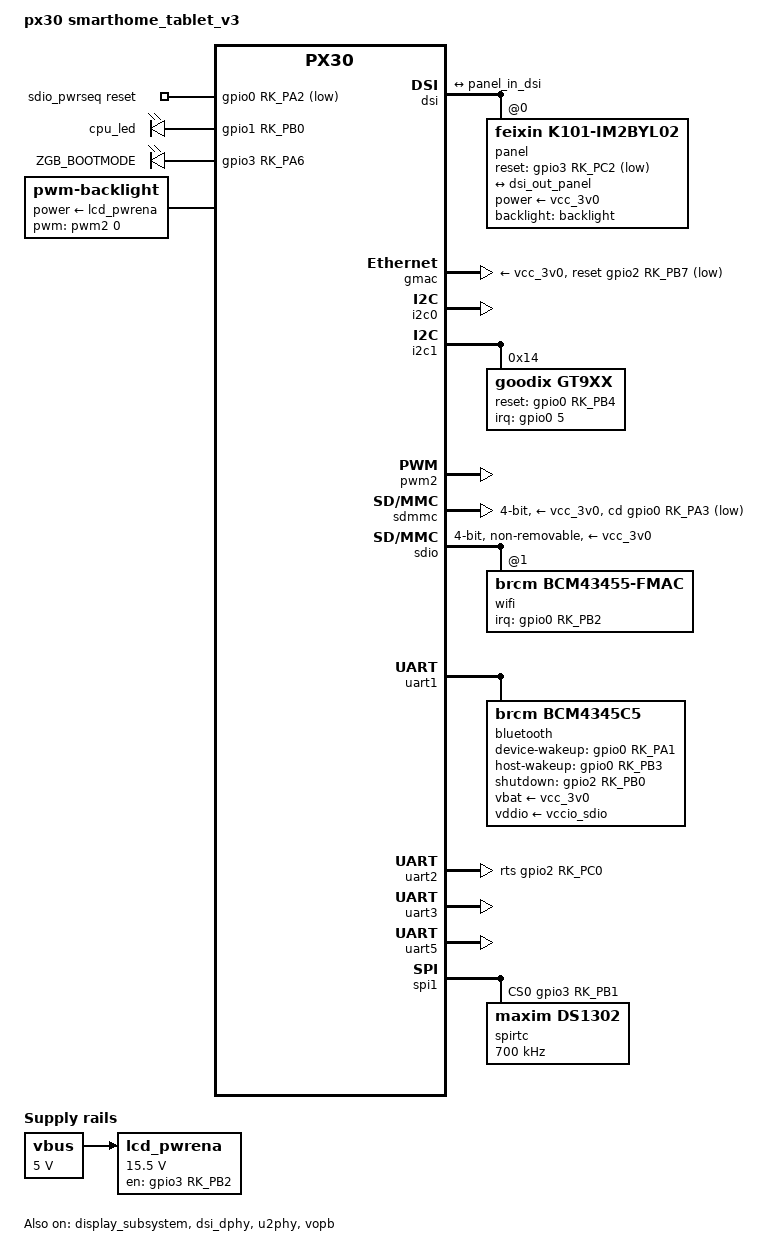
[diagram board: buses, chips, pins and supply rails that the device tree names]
/*
 * Copyright (c) 2024 InMys
 */
 
/*
 SH_PX30_BASE_V3.pdf + SOM_PX30_V1.pdf
*/

/dts-v1/;
#include <dt-bindings/gpio/gpio.h>
#include <dt-bindings/pinctrl/rockchip.h>
#include <dt-bindings/input/input.h>
#include "px30-inmys-som-hh.dtsi"

/ {
	model = "px30 smarthome_tablet_v3";
	compatible = "inmys,px30-sh-tablet-v3", "rockchip,px30";

	chosen {
		stdout-path = "serial3:115200n8";
	};
	aliases {
		ethernet0 = &gmac;
		rtc0 = &spirtc;
		rtc1 = &rk817;

		mmc0 = &sdmmc; // sdcard
		mmc1 = &sdio;  // wifi
		mmc2 = &emmc;
	};

	/* SH_PX30_TABLET pwr */
	vbus: vbusv {
		compatible = "regulator-fixed";
		regulator-name = "vbus";
		regulator-always-on;
		regulator-boot-on;
		regulator-min-microvolt = <5000000>;
		regulator-max-microvolt = <5000000>;
	};

	sdio_pwrseq: sdio-pwrseq {
		compatible = "mmc-pwrseq-simple";
		clocks = <&rk817 1>;
		clock-names = "ext_clock";
		pinctrl-names = "default";
		pinctrl-0 = <&wifi_enable_h>;

		/*
		 * On the module itself this is one of these (depending
		 * on the actual card populated):
		 * - SDIO_RESET_L_WL_REG_ON
		 * - PDN (power down when low)
		 */
		reset-gpios = <&gpio0 RK_PA2 GPIO_ACTIVE_LOW>;
		post-power-on-delay-ms = <10>;
	};

	leds{
		compatible = "gpio-leds";
		pinctrl-names = "default";
		pinctrl-0 = <&led_gpio &zgb_reset_pin>;
		cpu_led {
			label = "cpu_led";
			gpios = <&gpio1 RK_PB0 GPIO_ACTIVE_HIGH>;
			linux,default-trigger = "heartbeat";
		};

		ZGB_BOOTMODE { // CPU_BOOTMODE in sch
			gpios = <&gpio3 RK_PA6 GPIO_ACTIVE_HIGH>;
			default-state = "on";
		};
#if 0
		/* disabled, confict with openocd(use gpio) */
		ZGB_RESET {
			gpios = <&gpio3 RK_PD3 GPIO_ACTIVE_LOW>;
			default-state = "off";
		};
#endif
	};
};

&display_subsystem {
	status = "okay";
};

/{
	lcd_pwrena: lcd_pwrena {
		compatible = "regulator-fixed";
		regulator-name = "lcd_pwrena";
		regulator-min-microvolt = <15500000>;
		regulator-max-microvolt = <15500000>;
		vin-supply = <&vbus>;
		gpio = <&gpio3 RK_PB2 GPIO_ACTIVE_HIGH>;
		enable-active-high;
	};
		
	backlight: backlight {
		compatible = "pwm-backlight";
		pwms = <&pwm2 0 25000 0>;
		//default-brightness-level = <100>;
		power-supply = <&lcd_pwrena>;
	};
};

&dsi {
	status = "okay";
	panel@0 {
		//compatible = "bananapi,lhr050h41";
		compatible = "feixin,k101-im2byl02";

		// Dot pitch: 117.75*117.75 (800x1280)
		width-mm = <151>;
		height-mm = <94>;
		rotation = <90>;

		reg = <0>;
		power-supply = <&vcc_3v0>;
		reset-gpios = <&gpio3 RK_PC2 GPIO_ACTIVE_LOW>;
		backlight = <&backlight>;
		status = "okay";
		ports {
			#address-cells = <1>;
			#size-cells = <0>;
			port@0 {
				reg = <0>;
				panel_in_dsi: endpoint {
					remote-endpoint = <&dsi_out_panel>;
				};
			};
		};
	};
	ports {
		#address-cells = <1>;
		#size-cells = <0>;
		port@1 {
			reg = <1>;
			dsi_out_panel: endpoint {
				remote-endpoint = <&panel_in_dsi>;
			};
		};
	};
	
};

&dsi_dphy {
	status = "okay";
};


&gmac {
	status = "okay";
	
	phy-supply = <&vcc_3v0>;
	clock_in_out = "output";
	snps,reset-gpio = <&gpio2 RK_PB7 GPIO_ACTIVE_LOW>;
	snps,reset-active-low;
	snps,reset-delays-us = <0 50000 50000>;
	status = "okay";

	tx_delay = <0x30>;
	rx_delay = <0x10>;
#if 0
	phy-handle = <&yt8512>;
	yt8512: ethernet-phy@0{
		reg = <0>;
		reset-assert-us = <50000>;
		reset-deassert-us = <50000>;
		reset-gpios = <&gpio2 RK_PB7 GPIO_ACTIVE_LOW>;
		compatible = "ethernet-phy-ieee802.3-c22";
	};
#endif
};

&i2c0 {
	status = "okay";
};

&i2c1 {
	status = "okay";
	gt9xx@14 {
		compatible = "goodix,gt9xx";
		reg = <0x14>;
		status = "okay";
		interrupt-parent = <&gpio0>;
		interrupts = <5 0x2800>;
		reset-gpios = <&gpio0 RK_PB4 0x0>;
		irq-gpios = <&gpio0 5 0x2800>;
		irq-flags = <2>;
		touchscreen-max-id = <11>;
		touchscreen-size-x = <800>;
		touchscreen-size-y = <1280>;
		touchscreen-max-w = <512>;
		touchscreen-max-p = <512>;
		
		goodix,slide-wakeup = <0>;
		goodix,type-a-report = <0>;
		goodix,driver-send-cfg = <0>;
		goodix,resume-in-workqueue = <0>;
		goodix,int-sync = <1>;
		goodix,swap-x2y = <0>;
		goodix,esd-protect = <1>;
		goodix,auto-update-cfg = <0>;
		goodix,power-off-sleep = <0>;
		goodix,pen-suppress-finger = <0>;
		goodix,cfg-group0 = [
			53 D0 02 00 05 05 F5 D5 21 48 2D 0F 5A 41 0E 05 00 00 32 32 20 00 05 14 14 1A 14 8B 2B 00
		];
	};
};

&pwm2 {
	status = "okay";
};


/* sdcard */
&sdmmc {
	bus-width = <4>;
	cap-mmc-highspeed;
	cap-sd-highspeed;
	supports-sd;
	card-detect-delay = <800>;
	ignore-pm-notify;
	cd-gpios = <&gpio0 RK_PA3 GPIO_ACTIVE_LOW>;
	sd-uhs-sdr12;
	sd-uhs-sdr25;
	sd-uhs-sdr50;
	sd-uhs-sdr104;
	vmmc-supply = <&vcc_3v0>;
	vqmmc-supply = <&vcc_3v0>;
	status = "okay";
};

/* wifi */
&sdio {
	#address-cells = <1>;
	#size-cells = <0>;
	bus-width = <4>;
	disable-wp;
	cap-sd-highspeed;
	cap-sdio-irq;
	keep-power-in-suspend;
	mmc-pwrseq = <&sdio_pwrseq>;
	non-removable;
	//pinctrl-names = "default";
	//pinctrl-0 = <&sdio_bus4 &sdio_cmd &sdio_clk>;
	sd-uhs-sdr104;
	vmmc-supply = <&vcc_3v0>;
	vqmmc-supply = <&vccio_sdio>;
	status = "okay";
	wifi@1 {
		compatible = "brcm,bcm43455-fmac";
		reg = <1>;
		interrupt-parent = <&gpio0>;
		interrupts = <RK_PB2 IRQ_TYPE_LEVEL_HIGH>;
		interrupt-names = "host-wake";
		//pinctrl-names = "default";
		//pinctrl-0 = <&wifi_host_wake_h>;
	};
};


#if 0
// conflict with wifi/bluetooth wakeup
&uart0 {
	pinctrl-names = "default";
	pinctrl-0 = <&uart0_xfer>;
	status = "okay";
};
#endif

&uart1 {
	/*bluetooth*/
	pinctrl-names = "default";
	pinctrl-0 = <&uart1_xfer &uart1_cts &uart1_rts>;
	status = "okay";

	bluetooth {
		compatible = "brcm,bcm4345c5";
		clocks = <&rk817 1>;
		clock-names = "lpo";
		device-wakeup-gpios = <&gpio0 RK_PA1 GPIO_ACTIVE_HIGH>; //HOST_WAKE_BT_H
		host-wakeup-gpios = <&gpio0 RK_PB3 GPIO_ACTIVE_HIGH>; //BT_WAKE_HOST_H
		//reset-gpios = <&gpio2 RK_PB0 GPIO_ACTIVE_HIGH>; //BT_REG_ON_H
		shutdown-gpios = <&gpio2 RK_PB0 GPIO_ACTIVE_HIGH>; //BT_REG_ON_H
		vbat-supply = <&vcc_3v0>;
		vddio-supply = <&vccio_sdio>;
		/*max-speed = <115200>;*/
	};
};

&uart2 {
	/* RS485 */
	pinctrl-names = "default";
	pinctrl-0 = <&uart2m1_xfer>;
	status = "okay";
	rts-gpios = <&gpio2 RK_PC0 GPIO_ACTIVE_HIGH>; // rts used for txen in rs485 mode
	//rs485-rts-delay = <0 200>;
	linux,rs485-enabled-at-boot-time;
};

&uart3{
	/* console */
        pinctrl-names = "default";
        pinctrl-0 = <&uart3m1_xfer>;
        status = "okay";
};

&uart5 {
	/* zigbee */
	status = "okay";
	pinctrl-names = "default";
	pinctrl-0 = <&uart5_xfer>;
};


&u2phy {
	status = "okay";
	u2phy_otg: otg-port {
		status = "okay";
	};
};

&usb20_otg {
	status = "disabled";
};

&usb_host0_ehci {
	status = "disabled";
};

&usb_host0_ohci {
	status = "disabled";
};

&vopb {
	status = "okay";
};

&vopb_mmu {
	status = "okay";
};

&vopl {
	status = "disabled";
};

&vopl_mmu {
	status = "disabled";
};

&gpio0 {
	gpio-line-names = 
		"","HOST_WAKE_BT","WIFI_REG_ON","","SDMMC0_DET","TP_INT","","",
		"","","WIFI_WAKE_HOST","BT_WAKE_HOST","TP_RST","","","",
		"","","","","","","","",
		"","","","","","","","";
};

&gpio2 {
	gpio-line-names =
		"","","","","","","","",
		"BT_REG_ON","","","","","","","",
		"","","","","","","","",
		"","","","","","","","";
};

&gpio3 {
	gpio-line-names = 
		"","","","","EXT_SIGNAL","","CPU_BOOTMODE","",
		"","","LCD_PWRENA","","","","","",
		"","","LCD_RESET","","","","","JTAG_TDI",
		"JTAG_TDO","TCK","TMS","ZGB_RST","","","","";
};

&spi1 {
	status = "okay";
	pinctrl-names = "default", "high_speed";
	//pinctrl-0 = <&spi1_clk &spi1_csn0 &spi1_miso &spi1_mosi>;
	//pinctrl-1 = <&spi1_clk_hs &spi1_csn0 &spi1_miso_hs &spi1_mosi_hs>;
	pinctrl-0 = <&spi1_clk &spi1_miso &spi1_mosi>;
	pinctrl-1 = <&spi1_clk_hs &spi1_miso_hs &spi1_mosi_hs>;
	num-cs = <1>;
	cs-gpios = <&gpio3 RK_PB1 GPIO_ACTIVE_HIGH>;
#if 1
	spirtc: spirtc@0 {
		compatible = "maxim,ds1302";
		reg = <0>;
		spi-max-frequency = <700000>;
		/*spi-3wire;*/
		spi-lsb-first;
		spi-cs-high;
	};
#else
	spidev@0{
		/* compatible = "linux,spidev"; */
		compatible = "rohm,dh2228fv";
		reg = <0>;
		spi-max-frequency = <700000>;
		/*spi-3wire;*/
		spi-lsb-first;
		spi-cs-high;
	};
#endif
};


&pinctrl {
	sdio-pwrseq {
		wifi_enable_h: wifi-enable-h {
			rockchip,pins = 
				<0 RK_PA2 RK_FUNC_GPIO &pcfg_pull_none>;
		};
	};
	wlan {
		wifi_host_wake: wifi-host-wake{
			rockchip,pins =
				<0 RK_PB2 RK_FUNC_GPIO &pcfg_pull_up>;
		};
	};
	led{
		zgb_reset_pin: zgb-reset-pin{
			rockchip,pins =
				<3 RK_PD3 RK_FUNC_GPIO &pcfg_pull_up>; // pull_up => no reset on zgb

		};
	};
};

/* DON'T PUT ANYTHING BELOW HERE.  PUT IT ABOVE PINCTRL */
/* DON'T PUT ANYTHING BELOW HERE.  PUT IT ABOVE PINCTRL */
/* DON'T PUT ANYTHING BELOW HERE.  PUT IT ABOVE PINCTRL */
